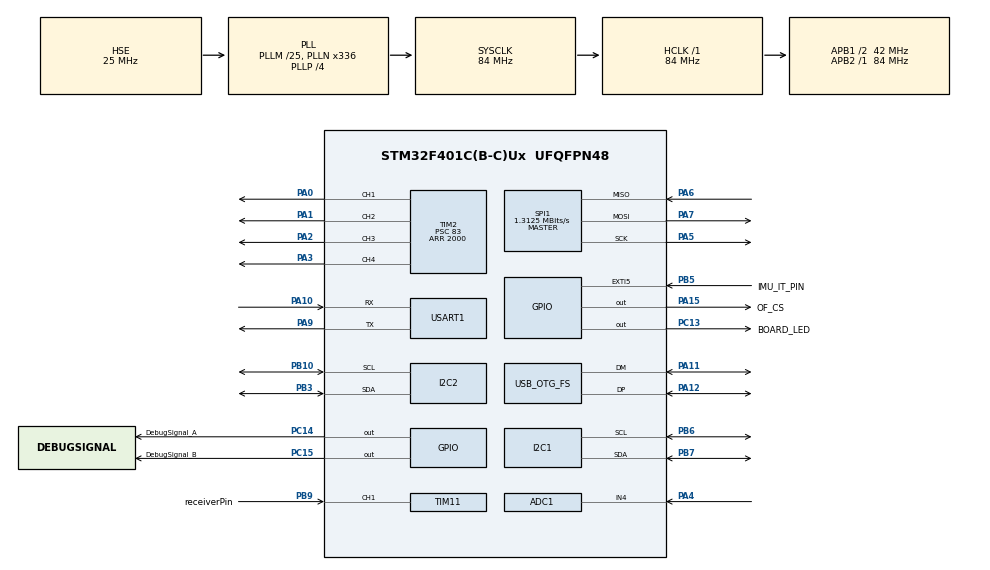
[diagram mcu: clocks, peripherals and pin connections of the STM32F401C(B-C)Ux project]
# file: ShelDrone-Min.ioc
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ADC1.Channel-2\#ChannelRegularConversion=ADC_CHANNEL_4
ADC1.NbrOfConversion=1
ADC1.NbrOfConversionFlag=1
ADC1.Rank-2\#ChannelRegularConversion=1
ADC1.SamplingTime-2\#ChannelRegularConversion=ADC_SAMPLETIME_3CYCLES
ADC1.master=1
Dma.I2C1_RX.0.Direction=DMA_PERIPH_TO_MEMORY
Dma.I2C1_RX.0.FIFOMode=DMA_FIFOMODE_DISABLE
Dma.I2C1_RX.0.Instance=DMA1_Stream0
Dma.I2C1_RX.0.MemDataAlignment=DMA_MDATAALIGN_BYTE
Dma.I2C1_RX.0.MemInc=DMA_MINC_ENABLE
Dma.I2C1_RX.0.Mode=DMA_NORMAL
Dma.I2C1_RX.0.PeriphDataAlignment=DMA_PDATAALIGN_BYTE
Dma.I2C1_RX.0.PeriphInc=DMA_PINC_DISABLE
Dma.I2C1_RX.0.Priority=DMA_PRIORITY_LOW
Dma.I2C1_TX.1.Direction=DMA_MEMORY_TO_PERIPH
Dma.I2C1_TX.1.FIFOMode=DMA_FIFOMODE_DISABLE
Dma.I2C1_TX.1.Instance=DMA1_Stream6
Dma.I2C1_TX.1.MemDataAlignment=DMA_MDATAALIGN_BYTE
Dma.I2C1_TX.1.MemInc=DMA_MINC_ENABLE
Dma.I2C1_TX.1.Mode=DMA_NORMAL
Dma.I2C1_TX.1.PeriphDataAlignment=DMA_PDATAALIGN_BYTE
Dma.I2C1_TX.1.PeriphInc=DMA_PINC_DISABLE
Dma.I2C1_TX.1.Priority=DMA_PRIORITY_LOW
Dma.Request0=I2C1_RX
Dma.Request1=I2C1_TX
FREERTOS.Tasks01=mainControlTask,48,256,StartMainControlTask,Default,NULL,Dynamic,NULL,NULL;sensor,8,1024,sensorTask,Default,NULL,Dynamic,NULL,NULL;watchDogTask,8,128,startWatchDogTask,Default,NULL,Dynamic,NULL,NULL
FREERTOS.configUSE_NEWLIB_REENTRANT=1
I2C1.I2C_Mode=I2C_Fast
I2C2.I2C_Mode=I2C_Fast
Mcu.Family=STM32F4
Mcu.Name=STM32F401C(B-C)Ux
Mcu.Package=UFQFPN48
NVIC.DMA1_Stream0_IRQn=true\:5\:0\:false\:false\:true\:true\:false\:true
NVIC.DMA1_Stream6_IRQn=true\:5\:0\:false\:false\:true\:true\:false\:true
NVIC.EXTI9_5_IRQn=true\:5\:0\:false\:false\:true\:true\:true\:true
NVIC.I2C2_ER_IRQn=true\:5\:0\:false\:false\:true\:true\:true\:true
NVIC.I2C2_EV_IRQn=true\:5\:0\:false\:false\:true\:true\:true\:true
NVIC.OTG_FS_IRQn=true\:5\:0\:false\:false\:true\:true\:false\:true
NVIC.PriorityGroup=NVIC_PRIORITYGROUP_4
NVIC.TIM1_TRG_COM_TIM11_IRQn=true\:5\:0\:false\:false\:true\:true\:true\:true
NVIC.TIM1_UP_TIM10_IRQn=true\:0\:0\:false\:false\:true\:false\:false\:true
NVIC.TimeBase=TIM1_UP_TIM10_IRQn
NVIC.TimeBaseIP=TIM10
PA0-WKUP.Signal=S_TIM2_CH1_ETR
PA1.Signal=S_TIM2_CH2
PA10.Mode=Asynchronous
PA10.Signal=USART1_RX
PA11.Mode=Device_Only
PA11.Signal=USB_OTG_FS_DM
PA12.Mode=Device_Only
PA12.Signal=USB_OTG_FS_DP
PA13.Mode=Serial_Wire
PA13.Signal=SYS_JTMS-SWDIO
PA14.Mode=Serial_Wire
PA14.Signal=SYS_JTCK-SWCLK
PA15.GPIO_Label=OF_CS
PA15.Signal=GPIO_Output
PA2.Signal=S_TIM2_CH3
PA3.Signal=S_TIM2_CH4
PA4.Signal=ADCx_IN4
PA5.Mode=Full_Duplex_Master
PA5.Signal=SPI1_SCK
PA6.Mode=Full_Duplex_Master
PA6.Signal=SPI1_MISO
PA7.Mode=Full_Duplex_Master
PA7.Signal=SPI1_MOSI
PA9.Mode=Asynchronous
PA9.Signal=USART1_TX
PB10.Mode=I2C
PB10.Signal=I2C2_SCL
PB3.Mode=I2C
PB3.Signal=I2C2_SDA
PB5.GPIO_Label=IMU_IT_PIN
PB5.Signal=GPXTI5
PB6.GPIO_Pu=GPIO_PULLUP
PB6.Mode=I2C
PB6.Signal=I2C1_SCL
PB7.GPIO_Pu=GPIO_PULLUP
PB7.Mode=I2C
PB7.Signal=I2C1_SDA
PB9.GPIO_Label=receiverPin
PB9.Signal=S_TIM11_CH1
PC13-ANTI_TAMP.GPIO_Label=BOARD_LED
PC13-ANTI_TAMP.Signal=GPIO_Output
PC14-OSC32_IN.GPIO_Label=DebugSignal_A
PC14-OSC32_IN.PinState=GPIO_PIN_SET
PC14-OSC32_IN.Signal=GPIO_Output
PC15-OSC32_OUT.GPIO_Label=DebugSignal_B
PC15-OSC32_OUT.PinState=GPIO_PIN_SET
PC15-OSC32_OUT.Signal=GPIO_Output
PH0\ -\ OSC_IN.Mode=HSE-External-Oscillator
PH0\ -\ OSC_IN.Signal=RCC_OSC_IN
PH1\ -\ OSC_OUT.Mode=HSE-External-Oscillator
PH1\ -\ OSC_OUT.Signal=RCC_OSC_OUT
ProjectManager.HeapSize=0x2000
ProjectManager.StackSize=0x4000
ProjectManager.TargetToolchain=STM32CubeIDE
RCC.48MHZClocksFreq_Value=48000000
RCC.AHBFreq_Value=84000000
RCC.APB1CLKDivider=RCC_HCLK_DIV2
RCC.APB1Freq_Value=42000000
RCC.APB1TimFreq_Value=84000000
RCC.APB2Freq_Value=84000000
RCC.APB2TimFreq_Value=84000000
RCC.CortexFreq_Value=84000000
RCC.HCLKFreq_Value=84000000
RCC.HSE_VALUE=25000000
RCC.HSI_VALUE=16000000
RCC.LSE_VALUE=32768
RCC.PLLM=25
RCC.PLLN=336
RCC.PLLP=RCC_PLLP_DIV4
RCC.PLLQ=7
RCC.RCC_RTC_Clock_Source=RCC_RTCCLKSOURCE_LSI
RCC.RCC_RTC_Clock_SourceVirtual=RCC_RTCCLKSOURCE_LSI
RCC.SYSCLKFreq_VALUE=84000000
RCC.SYSCLKSource=RCC_SYSCLKSOURCE_PLLCLK
RCC.VCOOutputFreq_Value=336000000
SH.ADCx_IN4.0=ADC1_IN4,IN4
SH.S_TIM11_CH1.0=TIM11_CH1,Input_Capture1_from_TI1
SH.S_TIM2_CH1_ETR.0=TIM2_CH1,PWM Generation1 CH1
SH.S_TIM2_CH2.0=TIM2_CH2,PWM Generation2 CH2
SH.S_TIM2_CH3.0=TIM2_CH3,PWM Generation3 CH3
SH.S_TIM2_CH4.0=TIM2_CH4,PWM Generation4 CH4
SPI1.BaudRatePrescaler=SPI_BAUDRATEPRESCALER_64
SPI1.CalculateBaudRate=1.3125 MBits/s
SPI1.Direction=SPI_DIRECTION_2LINES
SPI1.Mode=SPI_MODE_MASTER
SPI1.VirtualType=VM_MASTER
TIM11.Channel=TIM_CHANNEL_1
TIM11.Prescaler=83
TIM2.AutoReloadPreload=TIM_AUTORELOAD_PRELOAD_DISABLE
TIM2.Channel-PWM\ Generation1\ CH1=TIM_CHANNEL_1
TIM2.Channel-PWM\ Generation2\ CH2=TIM_CHANNEL_2
TIM2.Channel-PWM\ Generation3\ CH3=TIM_CHANNEL_3
TIM2.Channel-PWM\ Generation4\ CH4=TIM_CHANNEL_4
TIM2.Period=2000
TIM2.Prescaler=83
TIM2.Pulse-PWM\ Generation1\ CH1=1000
TIM2.Pulse-PWM\ Generation2\ CH2=1000
TIM2.Pulse-PWM\ Generation3\ CH3=1000
TIM2.Pulse-PWM\ Generation4\ CH4=1000
USART1.VirtualMode=VM_ASYNC
USB_DEVICE.CLASS_NAME_FS=CDC
USB_DEVICE.PRODUCT_STRING_CDC_FS=TinyDrone
USB_DEVICE.VirtualMode=Cdc
USB_DEVICE.VirtualModeFS=Cdc_FS
USB_OTG_FS.VirtualMode=Device_Only
VP_FREERTOS_VS_CMSIS_V2.Mode=CMSIS_V2
VP_SYS_VS_tim10.Mode=TIM10
VP_TIM11_VS_ClockSourceINT.Mode=Enable_Timer
VP_TIM2_VS_ClockSourceINT.Mode=Internal
VP_USB_DEVICE_VS_USB_DEVICE_CDC_FS.Mode=CDC_FS
board=custom

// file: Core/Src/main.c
/* USER CODE BEGIN Header */
/**
  ******************************************************************************
  * @file           : main.c
  * @brief          : Main program body
  ******************************************************************************
  * @attention
  *
  * <h2><center>&copy; Copyright (c) 2021 STMicroelectronics.
  * All rights reserved.</center></h2>
  *
  * This software component is licensed by ST under Ultimate Liberty license
  * SLA0044, the "License"; You may not use this file except in compliance with
  * the License. You may obtain a copy of the License at:
  *                             www.st.com/SLA0044
  *
  ******************************************************************************
  */
/* USER CODE END Header */
#include "main.h"
#include "cmsis_os.h"
#include "usb_device.h"
#include "usb_device.h"

/* USER CODE BEGIN Includes */
#include <stdio.h>
#include "usbd_cdc_if.h"
#include "config.h"
#include "motor.h"
#include "receiver.h"
#include "controlStatus.h"
#include "pid.h"
#include "sensors.h"
#include "debug.h"
#include "HMC5883L.h"
#include "battery.h"
/* USER CODE END Includes */

ADC_HandleTypeDef hadc1;

I2C_HandleTypeDef hi2c1;
I2C_HandleTypeDef hi2c2;
DMA_HandleTypeDef hdma_i2c1_rx;
DMA_HandleTypeDef hdma_i2c1_tx;

SPI_HandleTypeDef hspi1;

TIM_HandleTypeDef htim2;
TIM_HandleTypeDef htim11;

UART_HandleTypeDef huart1;

/* Definitions for mainControlTask */
osThreadId_t mainControlTaskHandle;
const osThreadAttr_t mainControlTask_attributes = {
  .name = "mainControlTask",
  .stack_size = 256 * 4,
  .priority = (osPriority_t) osPriorityRealtime,
};
/* Definitions for sensor */
osThreadId_t sensorHandle;
const osThreadAttr_t sensor_attributes = {
  .name = "sensor",
  .stack_size = 1024 * 4,
  .priority = (osPriority_t) osPriorityLow,
};
/* Definitions for watchDogTask */
osThreadId_t watchDogTaskHandle;
const osThreadAttr_t watchDogTask_attributes = {
  .name = "watchDogTask",
  .stack_size = 128 * 4,
  .priority = (osPriority_t) osPriorityLow,
};

void SystemClock_Config(void);
static void MX_GPIO_Init(void);
static void MX_DMA_Init(void);
static void MX_I2C1_Init(void);
static void MX_TIM2_Init(void);
static void MX_TIM11_Init(void);
static void MX_USART1_UART_Init(void);
static void MX_I2C2_Init(void);
static void MX_SPI1_Init(void);
static void MX_ADC1_Init(void);
void StartMainControlTask(void *argument);
void sensorTask(void *argument);
void startWatchDogTask(void *argument);

int main(void)
{

  /* MCU Configuration--------------------------------------------------------*/

  /* Reset of all peripherals, Initializes the Flash interface and the Systick. */
  HAL_Init();

  /* Configure the system clock */
  SystemClock_Config();

  /* Initialize all configured peripherals */
  MX_GPIO_Init();
  MX_DMA_Init();
  MX_I2C1_Init();
  MX_TIM2_Init();
  MX_TIM11_Init();
  MX_USART1_UART_Init();
  MX_I2C2_Init();
  MX_SPI1_Init();
  MX_ADC1_Init();
  /* USER CODE BEGIN 2 */

  HAL_TIM_PWM_Start(&htim2, TIM_CHANNEL_1);
  HAL_TIM_PWM_Start(&htim2, TIM_CHANNEL_2);
  HAL_TIM_PWM_Start(&htim2, TIM_CHANNEL_3);
  HAL_TIM_PWM_Start(&htim2, TIM_CHANNEL_4);

  /* USER CODE END 2 */

  /* Init scheduler */
  osKernelInitialize();

  /* Create the thread(s) */
  /* creation of mainControlTask */
  mainControlTaskHandle = osThreadNew(StartMainControlTask, NULL, &mainControlTask_attributes);

  /* creation of sensor */
  sensorHandle = osThreadNew(sensorTask, NULL, &sensor_attributes);

  /* creation of watchDogTask */
  watchDogTaskHandle = osThreadNew(startWatchDogTask, NULL, &watchDogTask_attributes);

  /* Start scheduler */
  osKernelStart();

  /* We should never get here as control is now taken by the scheduler */
  /* Infinite loop */
  while (1)
  {

  }
}

void SystemClock_Config(void)
{
  RCC_OscInitTypeDef RCC_OscInitStruct = {0};
  RCC_ClkInitTypeDef RCC_ClkInitStruct = {0};

  /** Configure the main internal regulator output voltage
  */
  __HAL_RCC_PWR_CLK_ENABLE();
  __HAL_PWR_VOLTAGESCALING_CONFIG(PWR_REGULATOR_VOLTAGE_SCALE2);
  /** Initializes the RCC Oscillators according to the specified parameters
  * in the RCC_OscInitTypeDef structure.
  */
  RCC_OscInitStruct.OscillatorType = RCC_OSCILLATORTYPE_HSE;
  RCC_OscInitStruct.HSEState = RCC_HSE_ON;
  RCC_OscInitStruct.PLL.PLLState = RCC_PLL_ON;
  RCC_OscInitStruct.PLL.PLLSource = RCC_PLLSOURCE_HSE;
  RCC_OscInitStruct.PLL.PLLM = 25;
  RCC_OscInitStruct.PLL.PLLN = 336;
  RCC_OscInitStruct.PLL.PLLP = RCC_PLLP_DIV4;
  RCC_OscInitStruct.PLL.PLLQ = 7;
  if (HAL_RCC_OscConfig(&RCC_OscInitStruct) != HAL_OK)
  {
    Error_Handler();
  }
  /** Initializes the CPU, AHB and APB buses clocks
  */
  RCC_ClkInitStruct.ClockType = RCC_CLOCKTYPE_HCLK|RCC_CLOCKTYPE_SYSCLK
                              |RCC_CLOCKTYPE_PCLK1|RCC_CLOCKTYPE_PCLK2;
  RCC_ClkInitStruct.SYSCLKSource = RCC_SYSCLKSOURCE_PLLCLK;
  RCC_ClkInitStruct.AHBCLKDivider = RCC_SYSCLK_DIV1;
  RCC_ClkInitStruct.APB1CLKDivider = RCC_HCLK_DIV2;
  RCC_ClkInitStruct.APB2CLKDivider = RCC_HCLK_DIV1;

  if (HAL_RCC_ClockConfig(&RCC_ClkInitStruct, FLASH_LATENCY_2) != HAL_OK)
  {
    Error_Handler();
  }
}

static void MX_ADC1_Init(void)
{

  ADC_ChannelConfTypeDef sConfig = {0};

  /** Configure the global features of the ADC (Clock, Resolution, Data Alignment and number of conversion)
  */
  hadc1.Instance = ADC1;
  hadc1.Init.ClockPrescaler = ADC_CLOCK_SYNC_PCLK_DIV4;
  hadc1.Init.Resolution = ADC_RESOLUTION_12B;
  hadc1.Init.ScanConvMode = DISABLE;
  hadc1.Init.ContinuousConvMode = DISABLE;
  hadc1.Init.DiscontinuousConvMode = DISABLE;
  hadc1.Init.ExternalTrigConvEdge = ADC_EXTERNALTRIGCONVEDGE_NONE;
  hadc1.Init.ExternalTrigConv = ADC_SOFTWARE_START;
  hadc1.Init.DataAlign = ADC_DATAALIGN_RIGHT;
  hadc1.Init.NbrOfConversion = 1;
  hadc1.Init.DMAContinuousRequests = DISABLE;
  hadc1.Init.EOCSelection = ADC_EOC_SINGLE_CONV;
  if (HAL_ADC_Init(&hadc1) != HAL_OK)
  {
    Error_Handler();
  }
  /** Configure for the selected ADC regular channel its corresponding rank in the sequencer and its sample time.
  */
  sConfig.Channel = ADC_CHANNEL_4;
  sConfig.Rank = 1;
  sConfig.SamplingTime = ADC_SAMPLETIME_3CYCLES;
  if (HAL_ADC_ConfigChannel(&hadc1, &sConfig) != HAL_OK)
  {
    Error_Handler();
  }

}

static void MX_I2C1_Init(void)
{

  hi2c1.Instance = I2C1;
  hi2c1.Init.ClockSpeed = 400000;
  hi2c1.Init.DutyCycle = I2C_DUTYCYCLE_2;
  hi2c1.Init.OwnAddress1 = 0;
  hi2c1.Init.AddressingMode = I2C_ADDRESSINGMODE_7BIT;
  hi2c1.Init.DualAddressMode = I2C_DUALADDRESS_DISABLE;
  hi2c1.Init.OwnAddress2 = 0;
  hi2c1.Init.GeneralCallMode = I2C_GENERALCALL_DISABLE;
  hi2c1.Init.NoStretchMode = I2C_NOSTRETCH_DISABLE;
  if (HAL_I2C_Init(&hi2c1) != HAL_OK)
  {
    Error_Handler();
  }

}

static void MX_I2C2_Init(void)
{

  hi2c2.Instance = I2C2;
  hi2c2.Init.ClockSpeed = 400000;
  hi2c2.Init.DutyCycle = I2C_DUTYCYCLE_2;
  hi2c2.Init.OwnAddress1 = 0;
  hi2c2.Init.AddressingMode = I2C_ADDRESSINGMODE_7BIT;
  hi2c2.Init.DualAddressMode = I2C_DUALADDRESS_DISABLE;
  hi2c2.Init.OwnAddress2 = 0;
  hi2c2.Init.GeneralCallMode = I2C_GENERALCALL_DISABLE;
  hi2c2.Init.NoStretchMode = I2C_NOSTRETCH_DISABLE;
  if (HAL_I2C_Init(&hi2c2) != HAL_OK)
  {
    Error_Handler();
  }

}

static void MX_SPI1_Init(void)
{

  /* SPI1 parameter configuration*/
  hspi1.Instance = SPI1;
  hspi1.Init.Mode = SPI_MODE_MASTER;
  hspi1.Init.Direction = SPI_DIRECTION_2LINES;
  hspi1.Init.DataSize = SPI_DATASIZE_8BIT;
  hspi1.Init.CLKPolarity = SPI_POLARITY_LOW;
  hspi1.Init.CLKPhase = SPI_PHASE_1EDGE;
  hspi1.Init.NSS = SPI_NSS_SOFT;
  hspi1.Init.BaudRatePrescaler = SPI_BAUDRATEPRESCALER_64;
  hspi1.Init.FirstBit = SPI_FIRSTBIT_MSB;
  hspi1.Init.TIMode = SPI_TIMODE_DISABLE;
  hspi1.Init.CRCCalculation = SPI_CRCCALCULATION_DISABLE;
  hspi1.Init.CRCPolynomial = 10;
  if (HAL_SPI_Init(&hspi1) != HAL_OK)
  {
    Error_Handler();
  }

}

static void MX_TIM2_Init(void)
{

  TIM_ClockConfigTypeDef sClockSourceConfig = {0};
  TIM_MasterConfigTypeDef sMasterConfig = {0};
  TIM_OC_InitTypeDef sConfigOC = {0};

  htim2.Instance = TIM2;
  htim2.Init.Prescaler = 83;
  htim2.Init.CounterMode = TIM_COUNTERMODE_UP;
  htim2.Init.Period = 2000;
  htim2.Init.ClockDivision = TIM_CLOCKDIVISION_DIV1;
  htim2.Init.AutoReloadPreload = TIM_AUTORELOAD_PRELOAD_DISABLE;
  if (HAL_TIM_Base_Init(&htim2) != HAL_OK)
  {
    Error_Handler();
  }
  sClockSourceConfig.ClockSource = TIM_CLOCKSOURCE_INTERNAL;
  if (HAL_TIM_ConfigClockSource(&htim2, &sClockSourceConfig) != HAL_OK)
  {
    Error_Handler();
  }
  if (HAL_TIM_PWM_Init(&htim2) != HAL_OK)
  {
    Error_Handler();
  }
  sMasterConfig.MasterOutputTrigger = TIM_TRGO_RESET;
  sMasterConfig.MasterSlaveMode = TIM_MASTERSLAVEMODE_DISABLE;
  if (HAL_TIMEx_MasterConfigSynchronization(&htim2, &sMasterConfig) != HAL_OK)
  {
    Error_Handler();
  }
  sConfigOC.OCMode = TIM_OCMODE_PWM1;
  sConfigOC.Pulse = 1000;
  sConfigOC.OCPolarity = TIM_OCPOLARITY_HIGH;
  sConfigOC.OCFastMode = TIM_OCFAST_DISABLE;
  if (HAL_TIM_PWM_ConfigChannel(&htim2, &sConfigOC, TIM_CHANNEL_1) != HAL_OK)
  {
    Error_Handler();
  }
  if (HAL_TIM_PWM_ConfigChannel(&htim2, &sConfigOC, TIM_CHANNEL_2) != HAL_OK)
  {
    Error_Handler();
  }
  if (HAL_TIM_PWM_ConfigChannel(&htim2, &sConfigOC, TIM_CHANNEL_3) != HAL_OK)
  {
    Error_Handler();
  }
  if (HAL_TIM_PWM_ConfigChannel(&htim2, &sConfigOC, TIM_CHANNEL_4) != HAL_OK)
  {
    Error_Handler();
  }
  HAL_TIM_MspPostInit(&htim2);

}

static void MX_TIM11_Init(void)
{

  TIM_IC_InitTypeDef sConfigIC = {0};

  htim11.Instance = TIM11;
  htim11.Init.Prescaler = 83;
  htim11.Init.CounterMode = TIM_COUNTERMODE_UP;
  htim11.Init.Period = 65535;
  htim11.Init.ClockDivision = TIM_CLOCKDIVISION_DIV1;
  htim11.Init.AutoReloadPreload = TIM_AUTORELOAD_PRELOAD_DISABLE;
  if (HAL_TIM_Base_Init(&htim11) != HAL_OK)
  {
    Error_Handler();
  }
  if (HAL_TIM_IC_Init(&htim11) != HAL_OK)
  {
    Error_Handler();
  }
  sConfigIC.ICPolarity = TIM_INPUTCHANNELPOLARITY_RISING;
  sConfigIC.ICSelection = TIM_ICSELECTION_DIRECTTI;
  sConfigIC.ICPrescaler = TIM_ICPSC_DIV1;
  sConfigIC.ICFilter = 0;
  if (HAL_TIM_IC_ConfigChannel(&htim11, &sConfigIC, TIM_CHANNEL_1) != HAL_OK)
  {
    Error_Handler();
  }

}

static void MX_USART1_UART_Init(void)
{

  huart1.Instance = USART1;
  huart1.Init.BaudRate = 115200;
  huart1.Init.WordLength = UART_WORDLENGTH_8B;
  huart1.Init.StopBits = UART_STOPBITS_1;
  huart1.Init.Parity = UART_PARITY_NONE;
  huart1.Init.Mode = UART_MODE_TX_RX;
  huart1.Init.HwFlowCtl = UART_HWCONTROL_NONE;
  huart1.Init.OverSampling = UART_OVERSAMPLING_16;
  if (HAL_UART_Init(&huart1) != HAL_OK)
  {
    Error_Handler();
  }

}

static void MX_DMA_Init(void)
{

  /* DMA controller clock enable */
  __HAL_RCC_DMA1_CLK_ENABLE();

  /* DMA interrupt init */
  /* DMA1_Stream0_IRQn interrupt configuration */
  HAL_NVIC_SetPriority(DMA1_Stream0_IRQn, 5, 0);
  HAL_NVIC_EnableIRQ(DMA1_Stream0_IRQn);
  /* DMA1_Stream6_IRQn interrupt configuration */
  HAL_NVIC_SetPriority(DMA1_Stream6_IRQn, 5, 0);
  HAL_NVIC_EnableIRQ(DMA1_Stream6_IRQn);

}

static void MX_GPIO_Init(void)
{
  GPIO_InitTypeDef GPIO_InitStruct = {0};

  /* GPIO Ports Clock Enable */
  __HAL_RCC_GPIOC_CLK_ENABLE();
  __HAL_RCC_GPIOH_CLK_ENABLE();
  __HAL_RCC_GPIOA_CLK_ENABLE();
  __HAL_RCC_GPIOB_CLK_ENABLE();

  /*Configure GPIO pin Output Level */
  HAL_GPIO_WritePin(BOARD_LED_GPIO_Port, BOARD_LED_Pin, GPIO_PIN_RESET);

  /*Configure GPIO pin Output Level */
  HAL_GPIO_WritePin(GPIOC, DebugSignal_A_Pin|DebugSignal_B_Pin, GPIO_PIN_SET);

  /*Configure GPIO pin Output Level */
  HAL_GPIO_WritePin(OF_CS_GPIO_Port, OF_CS_Pin, GPIO_PIN_RESET);

  /*Configure GPIO pins : BOARD_LED_Pin DebugSignal_A_Pin DebugSignal_B_Pin */
  GPIO_InitStruct.Pin = BOARD_LED_Pin|DebugSignal_A_Pin|DebugSignal_B_Pin;
  GPIO_InitStruct.Mode = GPIO_MODE_OUTPUT_PP;
  GPIO_InitStruct.Pull = GPIO_NOPULL;
  GPIO_InitStruct.Speed = GPIO_SPEED_FREQ_LOW;
  HAL_GPIO_Init(GPIOC, &GPIO_InitStruct);

  /*Configure GPIO pin : OF_CS_Pin */
  GPIO_InitStruct.Pin = OF_CS_Pin;
  GPIO_InitStruct.Mode = GPIO_MODE_OUTPUT_PP;
  GPIO_InitStruct.Pull = GPIO_NOPULL;
  GPIO_InitStruct.Speed = GPIO_SPEED_FREQ_LOW;
  HAL_GPIO_Init(OF_CS_GPIO_Port, &GPIO_InitStruct);

  /*Configure GPIO pin : IMU_IT_PIN_Pin */
  GPIO_InitStruct.Pin = IMU_IT_PIN_Pin;
  GPIO_InitStruct.Mode = GPIO_MODE_IT_RISING;
  GPIO_InitStruct.Pull = GPIO_NOPULL;
  HAL_GPIO_Init(IMU_IT_PIN_GPIO_Port, &GPIO_InitStruct);

  /* EXTI interrupt init*/
  HAL_NVIC_SetPriority(EXTI9_5_IRQn, 5, 0);
  HAL_NVIC_EnableIRQ(EXTI9_5_IRQn);

}

void StartMainControlTask(void *argument)
{
  /* init code for USB_DEVICE */
  MX_USB_DEVICE_Init();
  /* USER CODE BEGIN 5 */
  motorInit(&htim2,&channels[THROTTLE]);
  pidsInit();
#ifdef CALIBRATION
	for(;;){
		mapChannel2Motor();
		osDelay(4);
	}
#endif
  /* Infinite loop */
  for(;;){
	  detectControlStatus();
	  pidProcess();
	  setMotors3D(pid_pitch.out,
				  pid_roll.out,
				  pid_yaw.out);

	  osDelay(4);
  }
  /* USER CODE END 5 */
}

void sensorTask(void *argument)
{
  /* USER CODE BEGIN sensorTask */
	IMU_Init(&hi2c1);
	HMC5883L_Init(&hi2c2);
  /* Infinite loop */
  for(;;){
	  HMC5883L_GetAngle();
	  osDelay(50);
  }
  /* USER CODE END sensorTask */
}

void startWatchDogTask(void *argument)
{
  /* USER CODE BEGIN startWatchDogTask */
	LEDSignalInit();
	batteryInit(&hadc1);
	LEDToggle(ALL_LED, true);

	LEDSetTimes(RED, 3);
	LEDSetTimes(GREEN, 4);

  /* Infinite loop */
  for(;;){
	  watchBattery();
	  LEDSignal();
	  osDelay(LED_UNIT_PERIOD);
  }
  /* USER CODE END startWatchDogTask */
}

void HAL_TIM_PeriodElapsedCallback(TIM_HandleTypeDef *htim)
{
  if (htim->Instance == TIM10) {
    HAL_IncTick();
  }
}

void Error_Handler(void)
{
  __disable_irq();
  while (1)
  {
  }
}

/************************ (C) COPYRIGHT STMicroelectronics *****END OF FILE****/
